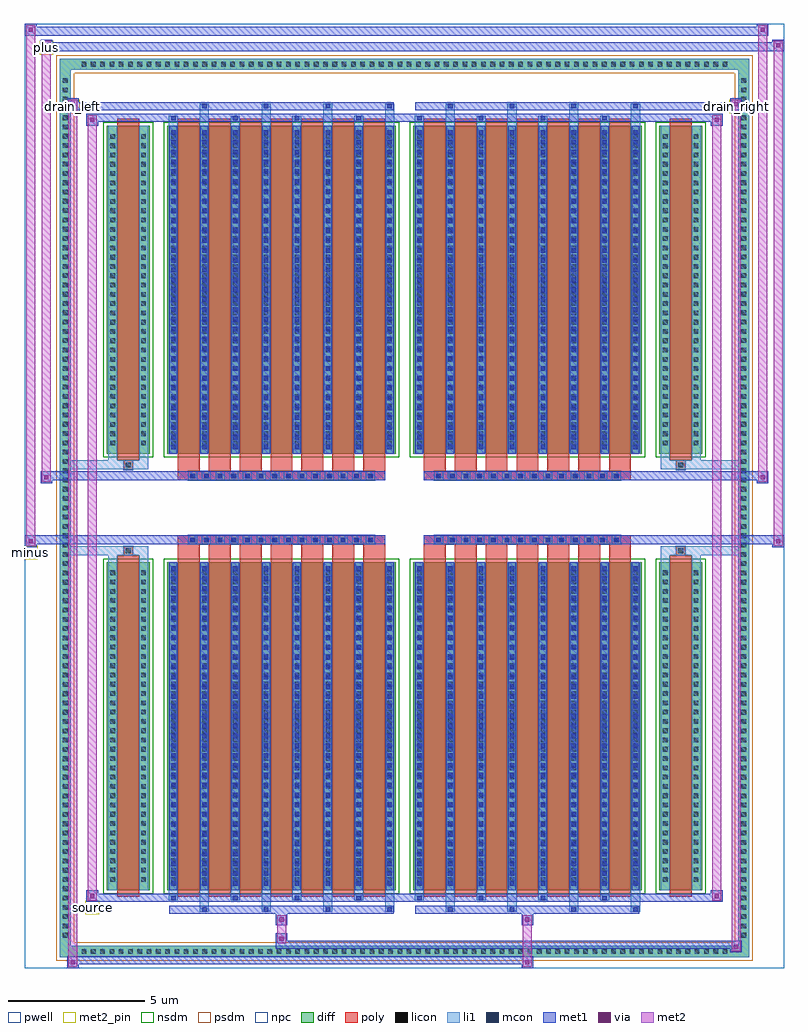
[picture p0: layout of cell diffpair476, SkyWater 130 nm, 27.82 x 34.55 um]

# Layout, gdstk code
import gdstk
lib = gdstk.Library(unit=1e-6, precision=5e-09)
def R(c, l, rs):  # rectangles x0, y0, x1, y1
    for r in rs: c.add(gdstk.rectangle(r[:2], r[2:], *l))
def A(c, l, x, y, w, h, nx, ny, dx, dy):  # array of equal rectangles
    R(c, l, [(x+i*dx, y+j*dy, x+i*dx+w, y+j*dy+h) for i in range(nx) for j in range(ny)])
def P(c, l, *ps):  # polygons
    for p in ps: c.add(gdstk.Polygon(p, *l))
pwell = (64, 44)
diff = (65, 20)
poly = (66, 20)
licon = (66, 44)
li1 = (67, 20)
mcon = (67, 44)
met1 = (68, 20)
via = (68, 44)
met2_pin = (69, 16)
met2 = (69, 20)
nsdm = (93, 44)
psdm = (94, 20)
npc = (95, 20)

diffpair476 = lib.new_cell('diffpair476')
R(diffpair476, pwell, [(-13.89,-16.84,13.89,17.71), (-11.21,-15.03,-0.01,-0.805), (0.01,-15.03,11.21,-0.805), (-11.21,0.805,-0.01,15.03), (0.01,0.805,11.21,15.03)])
A(diffpair476, diff, -11.935, -16.44, 0.41, 0.41, 70, 2, 0.34, 32.47)
A(diffpair476, diff, -12.62, -15.845, 0.41, 0.41, 1, 93, 0, 0.34)
A(diffpair476, diff, 12.21, -15.845, 0.41, 0.41, 1, 93, 0, 0.34)
R(diffpair476, diff, [(-11.935,-16.44,11.935,-16.03), (-12.62,-15.845,-12.21,15.845), (12.21,-15.845,12.62,15.845), (-10.9,-13.985,-9.32,-1.985), (-8.68,-13.985,-0.32,-1.985), (0.32,-13.985,8.68,-1.985), (9.32,-13.985,10.9,-1.985), (-10.9,1.985,-9.32,13.985), (-8.68,1.985,-0.32,13.985), (0.32,1.985,8.68,13.985), (9.32,1.985,10.9,13.985), (-11.935,16.03,11.935,16.44)])
P(diffpair476, diff, [(12.62,16.44),(-12.62,16.44),(-12.62,-16.03),(-12.21,-16.03),(-12.21,16.03),(12.21,16.03),(12.21,-16.03),(-12.21,-16.03),(-12.62,-16.03),(-12.62,-16.44),(12.62,-16.44)])
A(diffpair476, poly, -8.29, -14.235, 0.8, 12.5, 7, 2, 1.13, 15.97)
A(diffpair476, poly, 0.71, -14.235, 0.8, 12.5, 7, 2, 1.13, 15.97)
A(diffpair476, poly, -8.29, -1.735, 0.8, 0.4, 7, 2, 1.13, 3.07)
A(diffpair476, poly, 0.71, -1.735, 0.8, 0.4, 7, 2, 1.13, 3.07)
A(diffpair476, poly, -7.915, -1.335, 0.33, 0.33, 14, 2, 0.5, 2.34)
A(diffpair476, poly, 1.085, -1.335, 0.33, 0.33, 14, 2, 0.5, 2.34)
R(diffpair476, poly, [(-10.51,-14.235,-9.71,-1.735), (9.71,-14.235,10.51,-1.735), (-10.275,-1.735,-9.945,-1.405), (-10.275,-1.735,-9.945,-1.405), (9.945,-1.735,10.275,-1.405), (9.945,-1.735,10.275,-1.405), (-8.29,-1.335,-0.71,-1.005), (0.71,-1.335,8.29,-1.005), (-8.29,1.005,-0.71,1.335), (0.71,1.005,8.29,1.335), (-10.275,1.405,-9.945,1.735), (-10.275,1.405,-9.945,1.735), (9.945,1.405,10.275,1.735), (9.945,1.405,10.275,1.735), (-10.51,1.735,-9.71,14.235), (9.71,1.735,10.51,14.235)])
A(diffpair476, licon, -11.815, -16.32, 0.17, 0.17, 70, 2, 0.34, 32.47)
A(diffpair476, licon, -12.5, -15.725, 0.17, 0.17, 1, 93, 0, 0.34)
A(diffpair476, licon, 12.33, -15.725, 0.17, 0.17, 1, 93, 0, 0.34)
A(diffpair476, licon, -10.76, -13.68, 0.17, 0.17, 1, 34, 0, 0.34)
A(diffpair476, licon, -9.63, -13.68, 0.17, 0.17, 1, 34, 0, 0.34)
A(diffpair476, licon, -8.54, -13.68, 0.17, 0.17, 8, 34, 1.13, 0.34)
A(diffpair476, licon, 0.46, -13.68, 0.17, 0.17, 8, 34, 1.13, 0.34)
A(diffpair476, licon, 9.46, -13.68, 0.17, 0.17, 1, 34, 0, 0.34)
A(diffpair476, licon, 10.59, -13.68, 0.17, 0.17, 1, 34, 0, 0.34)
A(diffpair476, licon, -7.835, -1.255, 0.17, 0.17, 14, 2, 0.5, 2.34)
A(diffpair476, licon, 1.165, -1.255, 0.17, 0.17, 14, 2, 0.5, 2.34)
A(diffpair476, licon, -10.76, 2.29, 0.17, 0.17, 1, 34, 0, 0.34)
A(diffpair476, licon, -9.63, 2.29, 0.17, 0.17, 1, 34, 0, 0.34)
A(diffpair476, licon, -8.54, 2.29, 0.17, 0.17, 8, 34, 1.13, 0.34)
A(diffpair476, licon, 0.46, 2.29, 0.17, 0.17, 8, 34, 1.13, 0.34)
A(diffpair476, licon, 9.46, 2.29, 0.17, 0.17, 1, 34, 0, 0.34)
A(diffpair476, licon, 10.59, 2.29, 0.17, 0.17, 1, 34, 0, 0.34)
R(diffpair476, licon, [(-10.195,-1.655,-10.025,-1.485), (10.025,-1.655,10.195,-1.485), (-10.195,1.485,-10.025,1.655), (10.025,1.485,10.195,1.655)])
A(diffpair476, li1, -11.895, -16.4, 0.33, 0.33, 70, 2, 0.34, 32.47)
A(diffpair476, li1, -12.58, -15.805, 0.33, 0.33, 1, 93, 0, 0.34)
A(diffpair476, li1, 12.25, -15.805, 0.33, 0.33, 1, 93, 0, 0.34)
A(diffpair476, li1, -7.49, -14.79, 0.33, 0.805, 4, 2, 2.26, 28.775)
A(diffpair476, li1, -7.41, -14.79, 0.17, 0.17, 4, 2, 2.26, 29.41)
A(diffpair476, li1, 1.51, -14.79, 0.33, 0.805, 4, 2, 2.26, 28.775)
A(diffpair476, li1, 1.59, -14.79, 0.17, 0.17, 4, 2, 2.26, 29.41)
A(diffpair476, li1, -8.62, -14.36, 0.33, 0.375, 4, 2, 2.26, 28.345)
A(diffpair476, li1, -8.54, -14.36, 0.17, 0.17, 4, 2, 2.26, 28.55)
A(diffpair476, li1, 0.38, -14.36, 0.33, 0.375, 4, 2, 2.26, 28.345)
A(diffpair476, li1, 0.46, -14.36, 0.17, 0.17, 4, 2, 2.26, 28.55)
A(diffpair476, li1, -8.62, -13.985, 0.33, 12, 8, 2, 1.13, 15.97)
A(diffpair476, li1, 0.38, -13.985, 0.33, 12, 8, 2, 1.13, 15.97)
A(diffpair476, li1, -8.54, -13.83, 0.17, 0.17, 8, 33, 1.13, 0.36)
A(diffpair476, li1, -8.54, -13.83, 0.17, 11.69, 8, 2, 1.13, 15.97)
A(diffpair476, li1, 0.46, -13.83, 0.17, 0.17, 8, 33, 1.13, 0.36)
A(diffpair476, li1, 0.46, -13.83, 0.17, 11.69, 8, 2, 1.13, 15.97)
A(diffpair476, li1, -10.84, -13.76, 0.33, 0.33, 1, 34, 0, 0.34)
A(diffpair476, li1, -9.71, -13.76, 0.33, 0.33, 1, 34, 0, 0.34)
A(diffpair476, li1, -8.62, -13.76, 0.33, 0.33, 8, 34, 1.13, 0.34)
A(diffpair476, li1, 0.38, -13.76, 0.33, 0.33, 8, 34, 1.13, 0.34)
A(diffpair476, li1, 9.38, -13.76, 0.33, 0.33, 1, 34, 0, 0.34)
A(diffpair476, li1, 10.51, -13.76, 0.33, 0.33, 1, 34, 0, 0.34)
A(diffpair476, li1, -7.915, -1.335, 0.33, 0.33, 14, 2, 0.5, 2.34)
A(diffpair476, li1, 1.085, -1.335, 0.33, 0.33, 14, 2, 0.5, 2.34)
A(diffpair476, li1, -8.54, 2.14, 0.17, 0.17, 8, 33, 1.13, 0.36)
A(diffpair476, li1, 0.46, 2.14, 0.17, 0.17, 8, 33, 1.13, 0.36)
A(diffpair476, li1, -10.84, 2.21, 0.33, 0.33, 1, 34, 0, 0.34)
A(diffpair476, li1, -9.71, 2.21, 0.33, 0.33, 1, 34, 0, 0.34)
A(diffpair476, li1, -8.62, 2.21, 0.33, 0.33, 8, 34, 1.13, 0.34)
A(diffpair476, li1, 0.38, 2.21, 0.33, 0.33, 8, 34, 1.13, 0.34)
A(diffpair476, li1, 9.38, 2.21, 0.33, 0.33, 1, 34, 0, 0.34)
A(diffpair476, li1, 10.51, 2.21, 0.33, 0.33, 1, 34, 0, 0.34)
R(diffpair476, li1, [(-12.62,-16.44,-12.21,-16.03), (-12.62,-16.44,-12.21,-16.03), (-12.21,-16.44,12.21,-16.03), (12.21,-16.44,12.62,-16.03), (12.21,-16.44,12.62,-16.03), (-12.62,-16.03,-12.21,16.03), (12.21,-16.03,12.62,16.03), (-10.84,-13.985,-10.51,-1.985), (-9.71,-13.985,-9.38,-1.985), (9.38,-13.985,9.71,-1.985), (10.51,-13.985,10.84,-1.985), (-10.84,-1.985,-10.51,-1.405), (-9.71,-1.985,-9.38,-1.405), (9.38,-1.985,9.71,-1.405), (10.51,-1.985,10.84,-1.405), (-12.62,-1.735,-10.275,-1.405), (-10.84,-1.735,-10.275,-1.405), (-10.275,-1.735,-9.945,-1.405), (-9.945,-1.735,-9.38,-1.405), (9.38,-1.735,9.945,-1.405), (9.945,-1.735,10.275,-1.405), (9.945,-1.735,12.62,-1.405), (10.275,-1.735,10.84,-1.405), (-12.62,1.405,-10.275,1.735), (-10.84,1.405,-10.275,1.735), (-10.84,1.405,-10.51,1.985), (-10.275,1.405,-9.945,1.735), (-9.945,1.405,-9.38,1.735), (-9.71,1.405,-9.38,1.985), (9.38,1.405,9.945,1.735), (9.38,1.405,9.71,1.985), (9.945,1.405,10.275,1.735), (9.945,1.405,12.62,1.735), (10.275,1.405,10.84,1.735), (10.51,1.405,10.84,1.985), (-10.84,1.985,-10.51,13.985), (-9.71,1.985,-9.38,13.985), (9.38,1.985,9.71,13.985), (10.51,1.985,10.84,13.985), (-12.62,16.03,-12.21,16.44), (-12.62,16.03,-12.21,16.44), (-12.21,16.03,12.21,16.44), (12.21,16.03,12.62,16.44), (12.21,16.03,12.62,16.44)])
A(diffpair476, mcon, -7.41, -14.79, 0.17, 0.17, 4, 2, 2.26, 29.41)
A(diffpair476, mcon, 1.59, -14.79, 0.17, 0.17, 4, 2, 2.26, 29.41)
A(diffpair476, mcon, -8.54, -14.36, 0.17, 0.17, 4, 2, 2.26, 28.55)
A(diffpair476, mcon, 0.46, -14.36, 0.17, 0.17, 4, 2, 2.26, 28.55)
A(diffpair476, mcon, -8.54, -13.83, 0.17, 0.17, 8, 33, 1.13, 0.36)
A(diffpair476, mcon, 0.46, -13.83, 0.17, 0.17, 8, 33, 1.13, 0.36)
A(diffpair476, mcon, -7.835, -1.255, 0.17, 0.17, 14, 2, 0.5, 2.34)
A(diffpair476, mcon, 1.165, -1.255, 0.17, 0.17, 14, 2, 0.5, 2.34)
A(diffpair476, mcon, -8.54, 2.14, 0.17, 0.17, 8, 33, 1.13, 0.36)
A(diffpair476, mcon, 0.46, 2.14, 0.17, 0.17, 8, 33, 1.13, 0.36)
A(diffpair476, met1, -7.47, -14.85, 0.29, 0.29, 4, 2, 2.26, 29.41)
A(diffpair476, met1, 1.53, -14.85, 0.29, 0.29, 4, 2, 2.26, 29.41)
A(diffpair476, met1, -8.6, -14.42, 0.29, 0.29, 4, 2, 2.26, 28.55)
A(diffpair476, met1, 0.4, -14.42, 0.29, 0.29, 4, 2, 2.26, 28.55)
A(diffpair476, met1, -8.6, -13.985, 0.29, 12, 8, 2, 1.13, 15.97)
A(diffpair476, met1, 0.4, -13.985, 0.29, 12, 8, 2, 1.13, 15.97)
A(diffpair476, met1, -8.6, -13.89, 0.29, 0.29, 8, 33, 1.13, 0.36)
A(diffpair476, met1, 0.4, -13.89, 0.29, 0.29, 8, 33, 1.13, 0.36)
A(diffpair476, met1, -7.895, -1.315, 0.29, 0.29, 14, 2, 0.5, 2.34)
A(diffpair476, met1, 1.105, -1.315, 0.29, 0.29, 14, 2, 0.5, 2.34)
A(diffpair476, met1, -8.6, 2.08, 0.29, 0.29, 8, 33, 1.13, 0.36)
A(diffpair476, met1, 0.4, 2.08, 0.29, 0.29, 8, 33, 1.13, 0.36)
R(diffpair476, met1, [(-12.35,-16.84,-11.92,-16.41), (4.285,-16.84,4.715,-16.41), (-12.35,-16.7,4.715,-16.41), (11.92,-16.27,12.35,-15.84), (-4.715,-16.13,12.35,-15.84), (-4.715,-15.99,-4.285,-15.56), (-4.715,-15.28,-4.285,-14.85), (4.285,-15.28,4.715,-14.85), (-8.6,-14.85,-0.4,-14.56), (0.4,-14.85,8.6,-14.56), (-11.64,-14.42,-11.21,-13.99), (-11.64,-14.42,-8.6,-14.13), (-8.6,-14.42,-0.4,-14.13), (-0.4,-14.42,0.4,-14.13), (0.4,-14.42,8.6,-14.13), (8.6,-14.42,11.64,-14.13), (11.21,-14.42,11.64,-13.99), (-13.89,-1.435,-13.46,-1.005), (13.46,-1.435,13.89,-1.005), (-13.89,-1.335,-0.71,-1.005), (-8.29,-1.335,-0.71,-1.005), (0.71,-1.335,8.29,-1.005), (0.71,-1.335,13.89,-1.005), (-13.32,0.905,-12.89,1.335), (12.89,0.905,13.32,1.335), (-13.32,1.005,-8.29,1.335), (-8.29,1.005,-0.71,1.335), (0.71,1.005,8.29,1.335), (8.29,1.005,13.32,1.335), (-11.64,13.99,-11.21,14.42), (11.21,13.99,11.64,14.42), (-11.64,14.13,-8.6,14.42), (-8.6,14.13,-0.4,14.42), (-0.4,14.13,0.4,14.42), (0.4,14.13,8.6,14.42), (8.6,14.13,11.64,14.42), (-12.35,14.56,-11.92,14.99), (-12.35,14.56,-8.6,14.85), (-8.6,14.56,-0.4,14.85), (0.4,14.56,8.6,14.85), (8.6,14.56,12.35,14.85), (11.92,14.56,12.35,14.99), (-13.32,16.71,-12.89,17.14), (-13.32,16.71,-11.21,17.04), (-11.21,16.71,11.21,17.04), (11.21,16.71,13.89,17.04), (13.46,16.71,13.89,17.14), (-13.89,17.28,-13.46,17.71), (-13.89,17.28,-11.21,17.61), (-11.21,17.28,11.21,17.61), (11.21,17.28,13.32,17.61), (12.89,17.28,13.32,17.71)])
R(diffpair476, via, [(-12.21,-16.7,-12.06,-16.55), (4.425,-16.7,4.575,-16.55), (12.06,-16.13,12.21,-15.98), (-4.575,-15.85,-4.425,-15.7), (-4.575,-15.14,-4.425,-14.99), (4.425,-15.14,4.575,-14.99), (-11.5,-14.28,-11.35,-14.13), (11.35,-14.28,11.5,-14.13), (-13.75,-1.295,-13.6,-1.145), (13.6,-1.295,13.75,-1.145), (-13.18,1.045,-13.03,1.195), (13.03,1.045,13.18,1.195), (-11.5,14.13,-11.35,14.28), (11.35,14.13,11.5,14.28), (-12.21,14.7,-12.06,14.85), (12.06,14.7,12.21,14.85), (-13.18,16.85,-13.03,17), (13.6,16.85,13.75,17), (-13.75,17.42,-13.6,17.57), (13.03,17.42,13.18,17.57)])
R(diffpair476, met2_pin, [(-11.675,-14.87,-11.175,-14.37), (-13.925,-1.885,-13.425,-1.385), (-12.385,14.44,-11.885,14.94), (11.885,14.44,12.385,14.94), (-13.355,16.59,-12.855,17.09)])
R(diffpair476, met2, [(-12.3,-16.79,-11.97,-16.46), (-12.3,-16.79,-11.97,14.94), (4.335,-16.79,4.665,-16.46), (4.335,-16.46,4.665,-15.23), (11.97,-16.22,12.3,-15.89), (11.97,-16.22,12.3,14.94), (-4.665,-15.94,-4.335,-15.61), (-4.665,-15.61,-4.335,-15.23), (-4.665,-15.23,-4.335,-14.9), (4.335,-15.23,4.665,-14.9), (-11.59,-14.37,-11.26,-14.04), (-11.59,-14.37,-11.26,14.37), (11.26,-14.37,11.59,-14.04), (11.26,-14.37,11.59,14.37), (-13.84,-1.385,-13.51,-1.055), (-13.84,-1.385,-13.51,17.66), (13.51,-1.385,13.84,-1.055), (13.51,-1.385,13.84,17.09), (-13.27,0.955,-12.94,1.285), (-13.27,0.955,-12.94,17.09), (12.94,0.955,13.27,1.285), (12.94,0.955,13.27,17.66), (-11.59,14.04,-11.26,14.37), (11.26,14.04,11.59,14.37), (-12.3,14.61,-11.97,14.94), (11.97,14.61,12.3,14.94), (-13.27,16.76,-12.94,17.09), (13.51,16.76,13.84,17.09), (-13.84,17.33,-13.51,17.66), (12.94,17.33,13.27,17.66)])
P(diffpair476, met2, [(13.84,-1.385),(13.84,-1.385),(13.84,-1.055),(13.84,-1.055)],
  [(13.84,16.76),(13.84,16.76),(13.84,17.09),(13.84,17.09)],
  [(-13.51,-1.385),(-13.51,-1.385),(-13.51,-1.055),(-13.51,-1.055)],
  [(-13.51,17.33),(-13.51,17.33),(-13.51,17.66),(-13.51,17.66)],
  [(13.27,0.955),(13.27,0.955),(13.27,1.285),(13.27,1.285)],
  [(13.27,17.33),(13.27,17.33),(13.27,17.66),(13.27,17.66)],
  [(-12.94,0.955),(-12.94,0.955),(-12.94,1.285),(-12.94,1.285)],
  [(-12.94,16.76),(-12.94,16.76),(-12.94,17.09),(-12.94,17.09)],
  [(-11.97,-16.79),(-11.97,-16.79),(-11.97,-16.46),(-11.97,-16.46)],
  [(-11.97,14.61),(-11.97,14.61),(-11.97,14.94),(-11.97,14.94)],
  [(12.3,-16.22),(12.3,-16.22),(12.3,-15.89),(12.3,-15.89)],
  [(12.3,14.61),(12.3,14.61),(12.3,14.94),(12.3,14.94)],
  [(-11.26,-14.37),(-11.26,-14.37),(-11.26,-14.04),(-11.26,-14.04)],
  [(-11.26,14.04),(-11.26,14.04),(-11.26,14.37),(-11.26,14.37)],
  [(11.59,-14.37),(11.59,-14.37),(11.59,-14.04),(11.59,-14.04)],
  [(11.59,14.04),(11.59,14.04),(11.59,14.37),(11.59,14.37)])
R(diffpair476, nsdm, [(-11.03,-14.115,-9.19,-1.855), (-8.81,-14.115,-0.19,-1.855), (0.19,-14.115,8.81,-1.855), (9.19,-14.115,11.03,-1.855), (-11.03,1.855,-9.19,14.115), (-8.81,1.855,-0.19,14.115), (0.19,1.855,8.81,14.115), (9.19,1.855,11.03,14.115)])
P(diffpair476, psdm, [(12.75,16.57),(-12.75,16.57),(-12.75,-15.9),(-12.08,-15.9),(-12.08,15.9),(12.08,15.9),(12.08,-15.9),(-12.08,-15.9),(-12.75,-15.9),(-12.75,-16.57),(12.75,-16.57)])
A(diffpair476, npc, -7.935, -1.355, 0.37, 0.37, 14, 2, 0.5, 2.34)
A(diffpair476, npc, 1.065, -1.355, 0.37, 0.37, 14, 2, 0.5, 2.34)
R(diffpair476, npc, [(-10.295,-1.755,-9.925,-1.385), (9.925,-1.755,10.295,-1.385), (-7.935,-1.355,-7.065,-0.985), (-7.935,-1.355,-7.065,-0.985), (-7.435,-1.355,-6.565,-0.985), (-7.435,-1.355,-6.565,-0.985), (-6.935,-1.355,-6.065,-0.985), (-6.935,-1.355,-6.065,-0.985), (-6.435,-1.355,-5.565,-0.985), (-6.435,-1.355,-5.565,-0.985), (-5.935,-1.355,-5.065,-0.985), (-5.935,-1.355,-5.065,-0.985), (-5.435,-1.355,-4.565,-0.985), (-5.435,-1.355,-4.565,-0.985), (-4.935,-1.355,-4.065,-0.985), (-4.935,-1.355,-4.065,-0.985), (-4.435,-1.355,-3.565,-0.985), (-4.435,-1.355,-3.565,-0.985), (-3.935,-1.355,-3.065,-0.985), (-3.935,-1.355,-3.065,-0.985), (-3.435,-1.355,-2.565,-0.985), (-3.435,-1.355,-2.565,-0.985), (-2.935,-1.355,-2.065,-0.985), (-2.935,-1.355,-2.065,-0.985), (-2.435,-1.355,-1.565,-0.985), (-2.435,-1.355,-1.565,-0.985), (-1.935,-1.355,-1.065,-0.985), (-1.935,-1.355,-1.065,-0.985), (1.065,-1.355,1.935,-0.985), (1.065,-1.355,1.935,-0.985), (1.565,-1.355,2.435,-0.985), (1.565,-1.355,2.435,-0.985), (2.065,-1.355,2.935,-0.985), (2.065,-1.355,2.935,-0.985), (2.565,-1.355,3.435,-0.985), (2.565,-1.355,3.435,-0.985), (3.065,-1.355,3.935,-0.985), (3.065,-1.355,3.935,-0.985), (3.565,-1.355,4.435,-0.985), (3.565,-1.355,4.435,-0.985), (4.065,-1.355,4.935,-0.985), (4.065,-1.355,4.935,-0.985), (4.565,-1.355,5.435,-0.985), (4.565,-1.355,5.435,-0.985), (5.065,-1.355,5.935,-0.985), (5.065,-1.355,5.935,-0.985), (5.565,-1.355,6.435,-0.985), (5.565,-1.355,6.435,-0.985), (6.065,-1.355,6.935,-0.985), (6.065,-1.355,6.935,-0.985), (6.565,-1.355,7.435,-0.985), (6.565,-1.355,7.435,-0.985), (7.065,-1.355,7.935,-0.985), (7.065,-1.355,7.935,-0.985), (-7.935,0.985,-7.065,1.355), (-7.935,0.985,-7.065,1.355), (-7.435,0.985,-6.565,1.355), (-7.435,0.985,-6.565,1.355), (-6.935,0.985,-6.065,1.355), (-6.935,0.985,-6.065,1.355), (-6.435,0.985,-5.565,1.355), (-6.435,0.985,-5.565,1.355), (-5.935,0.985,-5.065,1.355), (-5.935,0.985,-5.065,1.355), (-5.435,0.985,-4.565,1.355), (-5.435,0.985,-4.565,1.355), (-4.935,0.985,-4.065,1.355), (-4.935,0.985,-4.065,1.355), (-4.435,0.985,-3.565,1.355), (-4.435,0.985,-3.565,1.355), (-3.935,0.985,-3.065,1.355), (-3.935,0.985,-3.065,1.355), (-3.435,0.985,-2.565,1.355), (-3.435,0.985,-2.565,1.355), (-2.935,0.985,-2.065,1.355), (-2.935,0.985,-2.065,1.355), (-2.435,0.985,-1.565,1.355), (-2.435,0.985,-1.565,1.355), (-1.935,0.985,-1.065,1.355), (-1.935,0.985,-1.065,1.355), (1.065,0.985,1.935,1.355), (1.065,0.985,1.935,1.355), (1.565,0.985,2.435,1.355), (1.565,0.985,2.435,1.355), (2.065,0.985,2.935,1.355), (2.065,0.985,2.935,1.355), (2.565,0.985,3.435,1.355), (2.565,0.985,3.435,1.355), (3.065,0.985,3.935,1.355), (3.065,0.985,3.935,1.355), (3.565,0.985,4.435,1.355), (3.565,0.985,4.435,1.355), (4.065,0.985,4.935,1.355), (4.065,0.985,4.935,1.355), (4.565,0.985,5.435,1.355), (4.565,0.985,5.435,1.355), (5.065,0.985,5.935,1.355), (5.065,0.985,5.935,1.355), (5.565,0.985,6.435,1.355), (5.565,0.985,6.435,1.355), (6.065,0.985,6.935,1.355), (6.065,0.985,6.935,1.355), (6.565,0.985,7.435,1.355), (6.565,0.985,7.435,1.355), (7.065,0.985,7.935,1.355), (7.065,0.985,7.935,1.355), (-10.295,1.385,-9.925,1.755), (9.925,1.385,10.295,1.755)])
diffpair476.add(gdstk.Label('minus', (-13.675,-1.635), layer=69, texttype=5))
diffpair476.add(gdstk.Label('drain_right', (12.135,14.69), layer=69, texttype=5))
diffpair476.add(gdstk.Label('drain_left', (-12.135,14.69), layer=69, texttype=5))
diffpair476.add(gdstk.Label('source', (-11.425,-14.62), layer=69, texttype=5))
diffpair476.add(gdstk.Label('plus', (-13.105,16.84), layer=69, texttype=5))

lib.write_gds('diffpair476.gds')
